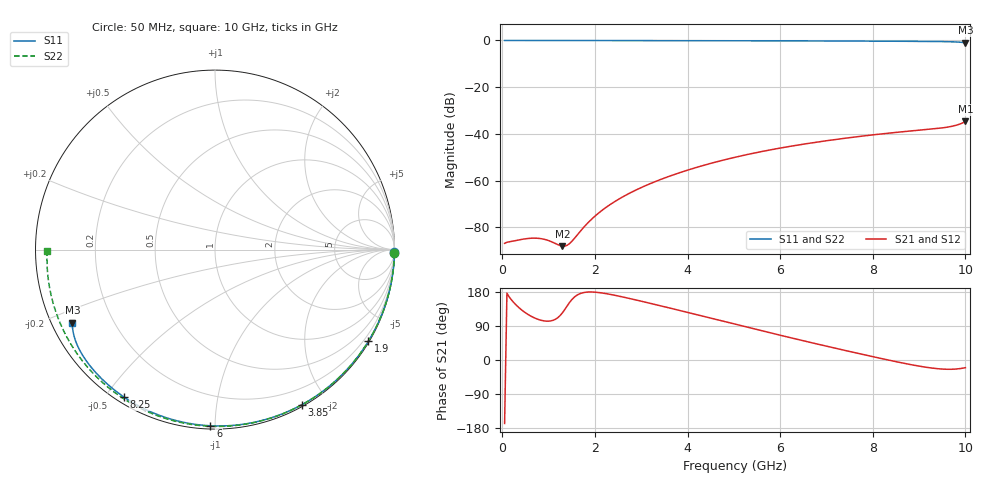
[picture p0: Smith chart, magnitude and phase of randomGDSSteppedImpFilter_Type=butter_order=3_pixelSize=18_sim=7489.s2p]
! freq	dB(S11)	phase(S11)	dB(S12)	phase(S12)
!  dB(S21)	phase(S21)	dB(S22)	phase(S22)
!S-par simulation data
#  GHz  S  DB  R 50
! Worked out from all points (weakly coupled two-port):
!   200 points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, 50 MHz to 10 GHz, reference 50 ohm
!   highest |S21| = -34.64 dB at 10 GHz (marker M1); lowest = -88.0 dB at 1.3 GHz (marker M2)
!   lowest |S11| = -1.0 dB at 10 GHz (marker M3), VSWR 17.72, Z = 2.98 - j12 ohm
!   |S11| at or under -10 dB: nowhere
!   |S22| runs from -0.6 to 0.0 dB; largest |S21 - S12| = 0
!   S11 on the Smith chart (normalised r, x): 50 MHz: open; 1.9 GHz: 0.03, -3.63; 3.85 GHz: 0.02, -1.70; 6 GHz: 0.02, -0.97; 8.25 GHz: 0.02, -0.56; 10 GHz: 0.06, -0.24
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0.05  -0.00 -0.8  -86.79 -167.4  -86.79 -167.4  -0.00 -1.1
0.65  -0.01 -10.7  -84.57 113.7  -84.57 113.7  -0.01 -13.6
1.3  -0.03 -21.2  -88.00 124.9  -88.00 124.9  -0.03 -27.0
1.75  -0.04 -28.5  -80.10 177.8  -80.10 177.8  -0.05 -36.1
1.9  -0.04 -30.8  -76.99 179.5  -76.99 179.5  -0.05 -39.1
2.2  -0.05 -35.6  -71.98 176.0  -71.98 176.0  -0.06 -45.1
2.55  -0.05 -41.1  -67.48 167.7  -67.48 167.7  -0.07 -51.9
2.95  -0.06 -47.3  -63.38 156.6  -63.38 156.6  -0.08 -59.7
3.4  -0.07 -54.1  -59.61 143.5  -59.61 143.5  -0.09 -68.2
3.85  -0.08 -60.9  -56.43 130.2  -56.43 130.2  -0.10 -76.5
4.45  -0.10 -69.7  -52.85 112.1  -52.85 112.1  -0.12 -87.3
5.05  -0.12 -78.3  -49.86 93.9  -49.86 93.9  -0.15 -97.8
5.5  -0.14 -84.6  -47.92 80.3  -47.92 80.3  -0.17 -105.4
6  -0.16 -91.5  -46.03 65.4  -46.03 65.4  -0.20 -113.8
6.7  -0.20 -101.0  -43.76 45.0  -43.76 45.0  -0.24 -125.3
7.5  -0.25 -111.7  -41.58 22.5  -41.58 22.5  -0.30 -138.3
8.25  -0.31 -121.8  -39.85 2.1  -39.85 2.1  -0.37 -150.5
8.35  -0.32 -123.2  -39.64 -0.5  -39.64 -0.5  -0.38 -152.1
8.95  -0.38 -131.6  -38.50 -15.1  -38.50 -15.1  -0.45 -161.9
9.45  -0.47 -139.5  -37.53 -23.5  -37.53 -23.5  -0.51 -170.3
9.8  -0.64 -146.8  -36.28 -23.8  -36.28 -23.8  -0.55 -176.2
10  -0.98 -152.9  -34.64 -20.3  -34.64 -20.3  -0.58 -179.7
